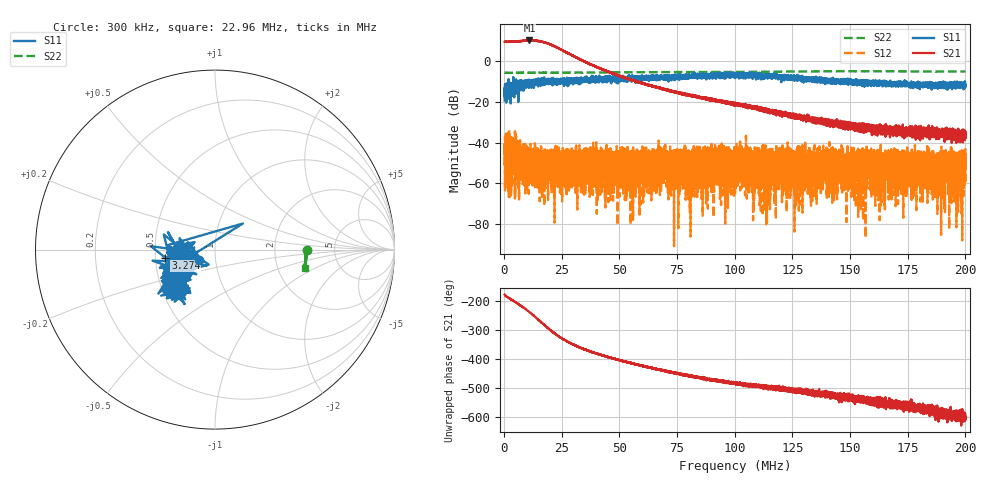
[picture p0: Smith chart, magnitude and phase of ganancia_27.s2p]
# Hz S DB R 50
! CMT, M5065, 19127446, 24.2.4/2
! Date: 11/8/2024 5:09:22 PM
! Data: Format (Calibration Info)
! Freq	S11:dB/Ang(F2)	S21:dB/Ang(F2)	S12:dB/Ang(F2)	S22:dB/Ang(F2)
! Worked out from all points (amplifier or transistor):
!   9000 points, 300 kHz to 200 MHz, reference 50 ohm
!   highest |S21| = 9.9 dB at 11.08 MHz (marker M1)
!   |S21| within 3 dB of that: start of sweep to 22.13 MHz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
!   unconditionally stable (mu >= 1): start of sweep to end of sweep
!   at 33.59 MHz: K = 67.33, MAG = 2.2 dB, |S12| = -46.7 dB
!   at 100.2 MHz: K = 6311.95, MAG = -18.9 dB, |S12| = -65.5 dB
!   at 200 MHz: K = 6401.57, MAG = -33.6 dB, |S12| = -50.3 dB
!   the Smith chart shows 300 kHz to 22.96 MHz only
!   S11 on the Smith chart (normalised r, x): 300 kHz: 0.83, -0.10; 3.274 MHz: 0.57, -0.06; 22.96 MHz: 0.57, -0.28
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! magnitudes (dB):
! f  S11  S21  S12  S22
! 300 kHz  -19.4  9.2  -44.9  -5.8
! 3.274 MHz  -11.1  9.3  -41.4  -5.9
! 4.849 MHz  -14.4  9.4  -42.9  -5.9
! 6.824 MHz  -12.1  9.6  -53.4  -5.9
! 11.08 MHz  -9.3  9.9  -52.9  -5.9
! 16.52 MHz  -10.1  9.3  -46.9  -5.9
! 22.96 MHz  -9.9  6.5  -49.5  -5.8
! 33.59 MHz  -9.5  0.4  -46.7  -5.8
! 42.75 MHz  -9.0  -4.2  -55.0  -5.7
! 48.26 MHz  -9.4  -6.6  -59.3  -5.7
! 50.32 MHz  -8.5  -7.5  -57.6  -5.6
! 52.61 MHz  -8.7  -8.3  -51.9  -5.6
! 57.73 MHz  -7.7  -10.1  -56.5  -5.6
! 66.87 MHz  -7.8  -13.2  -51.8  -5.5
! 100.2 MHz  -7.2  -21.2  -65.5  -5.4
! 133.4 MHz  -10.1  -30.1  -47.7  -5.2
! 166.7 MHz  -11.1  -34.7  -56.7  -5.2
! 184.8 MHz  -11.1  -33.8  -58.0  -5.2
! 186.9 MHz  -11.5  -34.6  -47.3  -5.2
! 188.8 MHz  -11.3  -35.4  -46.0  -5.2
! 197.2 MHz  -11.5  -34.3  -49.3  -5.3
! 200 MHz  -12.6  -35.4  -50.3  -5.3
